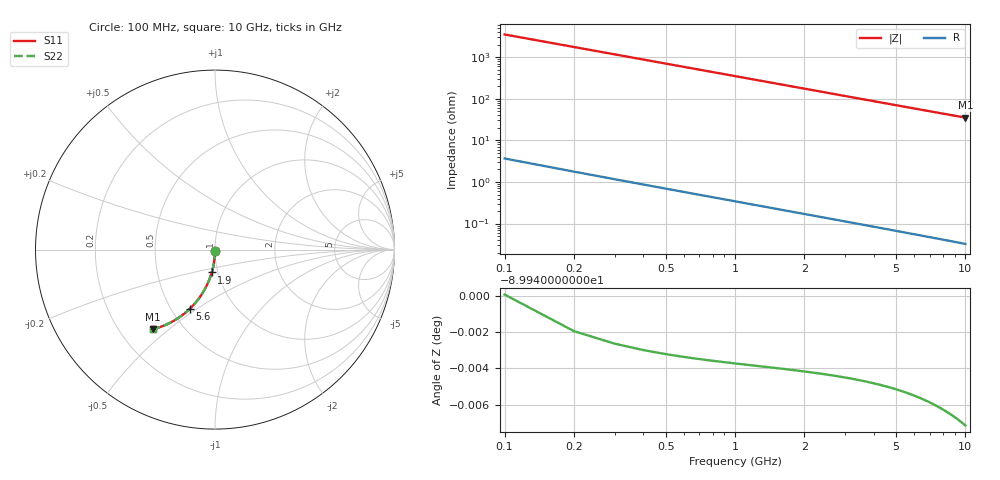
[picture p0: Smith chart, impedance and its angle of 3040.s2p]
# Hz S RI R 50.00
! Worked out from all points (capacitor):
!   100 points, 100 MHz to 10 GHz, reference 50 ohm
!   read as one part in shunt: C = 455 fF near 100 MHz
!   lowest |Z| = 35.2 ohm at 10 GHz (marker M1)
!   S11 on the Smith chart (normalised r, x): 100 MHz: 1.00, -0.01; 1.9 GHz: 0.93, -0.24; 5.6 GHz: 0.62, -0.47; 10 GHz: 0.34, -0.44
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1e8  2.17e-05 -0.00684  0.9999 -0.00746  0.9999 -0.00746  2.17e-05 -0.00684
2e8  -0.000138 -0.0137  0.9997 -0.0149  0.9997 -0.0149  -0.000138 -0.0137
3e8  -0.000399 -0.0205  0.9994 -0.0224  0.9994 -0.0224  -0.000399 -0.0205
4e8  -0.000763 -0.0273  0.9991 -0.0298  0.9991 -0.0298  -0.000763 -0.0273
5e8  -0.00123 -0.0341  0.9986 -0.0373  0.9986 -0.0373  -0.00123 -0.0341
6e8  -0.00179 -0.041  0.998 -0.0447  0.998 -0.0447  -0.00179 -0.041
7e8  -0.00246 -0.0477  0.9974 -0.0521  0.9974 -0.0521  -0.00246 -0.0477
8e8  -0.00323 -0.0545  0.9966 -0.0595  0.9966 -0.0595  -0.00323 -0.0545
9e8  -0.0041 -0.0613  0.9957 -0.0669  0.9957 -0.0669  -0.0041 -0.0613
1.1e9  -0.00614 -0.0748  0.9937 -0.0816  0.9937 -0.0816  -0.00614 -0.0748
1.4e9  -0.00993 -0.0948  0.9899 -0.1035  0.9899 -0.1035  -0.00993 -0.0948
1.8e9  -0.0163 -0.1211  0.9834 -0.1323  0.9834 -0.1323  -0.0163 -0.1211
1.9e9  -0.0182 -0.1276  0.9816 -0.1395  0.9816 -0.1395  -0.0182 -0.1276
2.2e9  -0.0242 -0.1468  0.9755 -0.1606  0.9755 -0.1606  -0.0242 -0.1468
2.6e9  -0.0336 -0.1719  0.9661 -0.1881  0.9661 -0.1881  -0.0336 -0.1719
3.4e9  -0.0561 -0.2194  0.9435 -0.2407  0.9435 -0.2407  -0.0561 -0.2194
4.2e9  -0.0834 -0.2631  0.9161 -0.2895  0.9161 -0.2895  -0.0834 -0.2631
5.1e9  -0.1185 -0.3071  0.8808 -0.3392  0.8808 -0.3392  -0.1185 -0.3071
5.6e9  -0.1397 -0.3289  0.8595 -0.3642  0.8595 -0.3642  -0.1397 -0.3289
6.7e9  -0.1891 -0.3703  0.8098 -0.4127  0.8098 -0.4127  -0.1891 -0.3703
8.4e9  -0.2693 -0.4168  0.7291 -0.4702  0.7291 -0.4702  -0.2693 -0.4168
1e10  -0.3445 -0.4431  0.6533 -0.507  0.6533 -0.507  -0.3445 -0.4431
